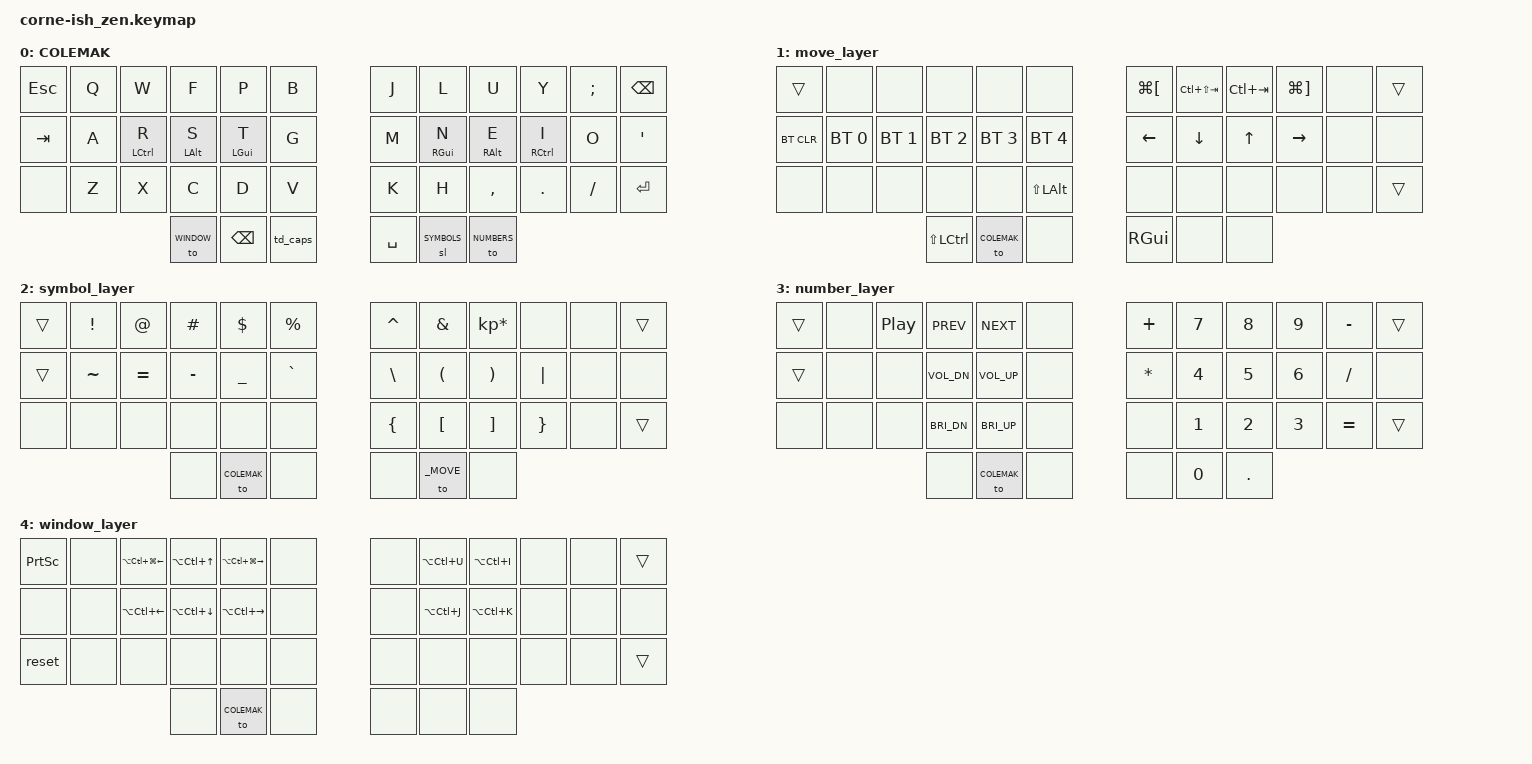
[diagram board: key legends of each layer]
/*
*
* Copyright (c) 2022 Andrew Escay
* SPDX-License-Identifier: MIT
*
*/

#include <behaviors.dtsi>
#include <dt-bindings/zmk/keys.h>
#include <dt-bindings/zmk/bt.h>

#define _COLEMAK 0
#define _MOVE 1
#define _SYMBOLS 2
#define _NUMBERS 3
#define _WINDOW 4

/ {
        behaviors {
                td_caps: tap_dance_caps {
                        compatible = "zmk,behavior-tap-dance";
                        label = "TAP_DANCE_CAPS";
                        #binding-cells = <0>;
                        tapping-term-ms = <240>;
                        bindings = <&kp LSHFT>, <&kp CAPS>;
                };
                bhm: balanced_homerow_mods {
                        compatible = "zmk,behavior-hold-tap";
                        label = "HOMEROW_MODS";
                        #binding-cells = <2>;
                        tapping-term-ms = <240>;    // <---[[moderate duration]]
                        quick-tap-ms = <0>;
                        flavor = "tap-preferred";
                        bindings = <&kp>, <&kp>;
                };
        };

        keymap {
                compatible = "zmk,keymap";

                default_layer {
                        label = "COLEMAK";
// -----------------------------------------------------------------------------------------
// |  ESC |  Q  |  W  |  F  |  P  |  B  |   |  J  |  L   |  U  |  Y  |  ;  | BKSP |
// |  TAB |  A  |  R  |  S  |  T  |  G  |   |  M  |  N   |  E  |  I  |  O  |  '   |
// |      |  Z  |  X  |  C  |  D  |  V  |   |  K  |  H   |  ,  |  .  |  /  | ENT  |
//                    | WIN | BKSP| CPS |   | SPC | SYM  | NUM |
                        bindings = <
   &kp ESC &kp Q &kp W        &kp F       &kp P       &kp B      &kp J     &kp L        &kp U        &kp Y       &kp SEMI &kp BSPC
   &kp TAB &kp A &bhm LCTRL R &bhm LALT S &bhm LGUI T &kp G      &kp M     &bhm RGUI N   &bhm RALT E   &bhm RCTRL I &kp O    &kp SQT
   &none   &kp Z &kp X        &kp C       &kp D       &kp V      &kp K     &kp H        &kp COMMA    &kp DOT     &kp FSLH &kp RET
                              &to _WINDOW &kp BSPC    &td_caps   &kp SPACE &sl _SYMBOLS &to _NUMBERS
                        >;
                };

                move_layer {
// -----------------------------------------------------------------------------------------
// |      |     |     |           |      |           |   | PREV | PREV_TAB | NEXT_TAB | NEXT |     |      |
// | BTCLR| BT1 | BT2 |    BT3    | BT4  | BT5       |   | LFT  | DWN      |  UP      | RGT  |     |      |
// |      |     |     |           |      | LSFT(ALT) |   |      |          |          |      |     |      |
//                    | LSFT(CTL) | CLMK |           |   | RGUI |          |          |
                        bindings = <
   &trans     &none        &none        &none         &none        &none          &kp LG(LBKT) &kp LC(LS(TAB)) &kp LC(TAB) &kp LG(RBKT) &none &trans
   &bt BT_CLR &bt BT_SEL 0 &bt BT_SEL 1 &bt BT_SEL 2  &bt BT_SEL 3 &bt BT_SEL 4   &kp LEFT     &kp DOWN        &kp UP      &kp RIGHT    &none &none
   &none      &none        &none        &none         &none        &kp LS(LALT)   &none        &none           &none       &none        &none &trans
                    	                &kp LS(LCTRL) &to _COLEMAK &none          &kp RGUI     &none           &none
                        >;
                };

                symbol_layer {
// -----------------------------------------------------------------------------------------
// |      |  !  |  @  |  #  |  $  |  %  |   |  ^  |  &  |  *  |     |     |      |
// |      |  ~  |  =  |  -  |  _  |  `  |   |  \  |  (  |  )  | "|" |     |      |
// |      |     |     |     |     |     |   |  {  |  [  |  ]  |  }  |     |      |
//                    |     | CLMK|     |   |     | MOVE|     |
                        bindings = <
   &trans &kp EXCL  &kp AT    &kp HASH  &kp DLLR     &kp PRCNT   &kp CARET &kp AMPS  &kp KP_MULTIPLY &none    &none &trans
   &trans &kp TILDE &kp EQUAL &kp MINUS &kp UNDER    &kp GRAVE   &kp BSLH  &kp LPAR  &kp RPAR        &kp PIPE &none &none
   &none  &none     &none     &none     &none        &none       &kp LBRC  &kp LBKT  &kp RBKT        &kp RBRC &none &trans
                    	      &none     &to _COLEMAK &none       &none     &to _MOVE &none
                        >;
                };

                number_layer {
// -----------------------------------------------------------------------------------------
// |    |     | PLY | PRV | NXT |     |   |  +  |  7  |  8  |  9  |  -  |      |
// |    |     |     | VLD | VLU |     |   |  *  |  4  |  5  |  6  |  /  |      |
// |    |     |     | BRD | BRU |     |   |     |  1  |  2  |  3  |  =  |      |
//                  |     | CLMK|     |   |     |  0  |  . |
                        bindings = <
   &trans &none &kp C_PP &kp C_PREV   &kp C_NEXT   &none    &kp PLUS &kp N7 &kp N8  &kp N9 &kp MINUS &trans
   &trans &none &none    &kp C_VOL_DN &kp C_VOL_UP &none    &kp STAR &kp N4 &kp N5  &kp N6 &kp SLASH &none
   &none  &none &none    &kp C_BRI_DN &kp C_BRI_UP &none    &none    &kp N1 &kp N2  &kp N3 &kp EQUAL &trans
                         &none        &to _COLEMAK &none    &none    &kp N0 &kp DOT
                        >;
                };

                window_layer {
// -----------------------------------------------------------------------------------------
// | PSCRN|     | LWIN | TOP  | RWIN  |     |   |     |  Q4 |  Q1 |   |     |      |
// |      |     | LEFT | DOWN | RIGHT |     |   |     |  Q3 |  Q2 |   |     |      |
// |      |     |      |      |       |     |   |     |     |     |   |     |      |
//                     |      | CLMK  |     |   |     |     |     |
                        bindings = <
   &kp PSCRN  &none &kp LA(LC(LG(LEFT))) &kp LA(LC(UP))   &kp LA(LC(LG(RIGHT))) &none   &none &kp LA(LC(U)) &kp LA(LC(I)) &none &none &trans
   &none      &none &kp LA(LC(LEFT))     &kp LA(LC(DOWN)) &kp LA(LC(RIGHT))     &none   &none &kp LA(LC(J)) &kp LA(LC(K)) &none &none &none
   &reset     &none &none                &none            &none                 &none   &none &none         &none         &none &none &trans
                    	                &none            &to _COLEMAK          &none   &none &none         &none
                        >;
                };
        };
};
